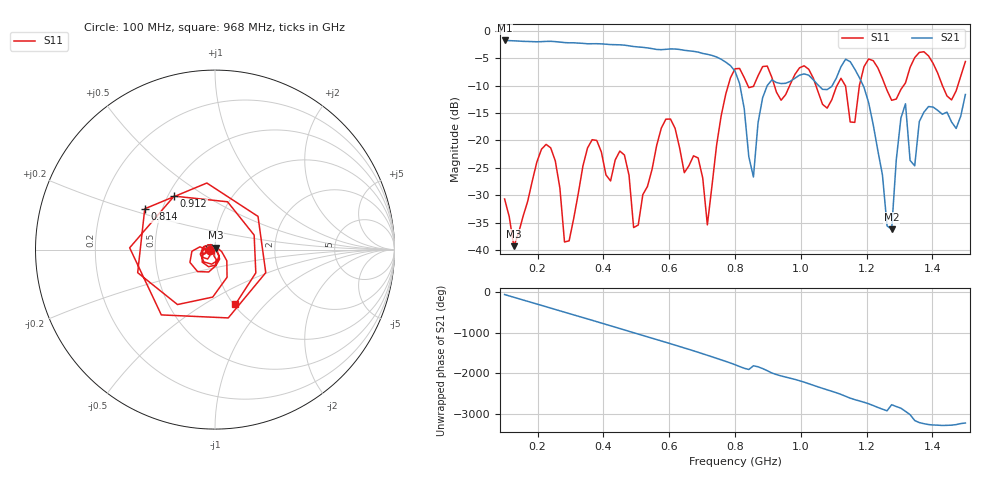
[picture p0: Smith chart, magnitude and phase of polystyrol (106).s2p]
! NanoVNA-App
! Date: 2025-09-26 09:42:42
! Start: 100MHz Stop: 1,5GHz Points: 101
! S-Parameter data: F S11 S21 S12 S22
# Hz S RI R 50
!  Frequency  S11_Real  S11_Imag  S21_Real  S21_Imag  S12_Real  S12_Imag  S22_Real  S22_Imag
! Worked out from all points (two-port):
!   101 points, 100 MHz to 1.5 GHz, reference 50 ohm
!   highest |S21| = -1.79 dB at 100 MHz (marker M1); lowest = -36.2 dB at 1.276 GHz (marker M2)
!   |S21| within 3 dB of the highest: start of sweep to 743.4 MHz
!   lowest |S11| = -39.2 dB at 128 MHz (marker M3), VSWR 1.02, Z = 50.3 + j1.06 ohm
!   |S11| at or under -10 dB: start of sweep to 779.4 MHz; 1.046 GHz to 1.11 GHz (64.24 MHz wide, 5.96 % of centre); 1.256 GHz to 1.312 GHz (56.04 MHz wide, 4.36 % of centre)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
!   S12 and S22 are empty: the file has one direction only
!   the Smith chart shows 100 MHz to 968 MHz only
!   S11 on the Smith chart (normalised r, x): 100 MHz: 0.94, -0.01; 814 MHz: 0.40, +0.23; 912 MHz: 0.54, +0.37; 968 MHz: 1.02, -0.69
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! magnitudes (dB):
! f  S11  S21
! 100 MHz  -30.7  -1.8
! 128 MHz  -39.2  -1.9
! 212 MHz  -21.6  -2.0
! 254 MHz  -23.7  -2.0
! 282 MHz  -38.5  -2.2
! 338 MHz  -24.6  -2.3
! 464 MHz  -22.6  -2.6
! 492 MHz  -35.8  -2.9
! 576 MHz  -17.8  -3.5
! 688 MHz  -23.2  -3.9
! 716 MHz  -35.4  -4.3
! 800 MHz  -6.9  -7.4
! 814 MHz  -6.9  -9.6
! 856 MHz  -10.2  -26.6
! 912 MHz  -8.5  -9.0
! 968 MHz  -9.8  -9.2
! 1.038 GHz  -8.7  -9.0
! 1.178 GHz  -10.0  -8.5
! 1.276 GHz  -12.7  -36.2
! 1.318 GHz  -9.5  -13.3
! 1.346 GHz  -4.9  -24.6
! 1.5 GHz  -5.6  -11.6
